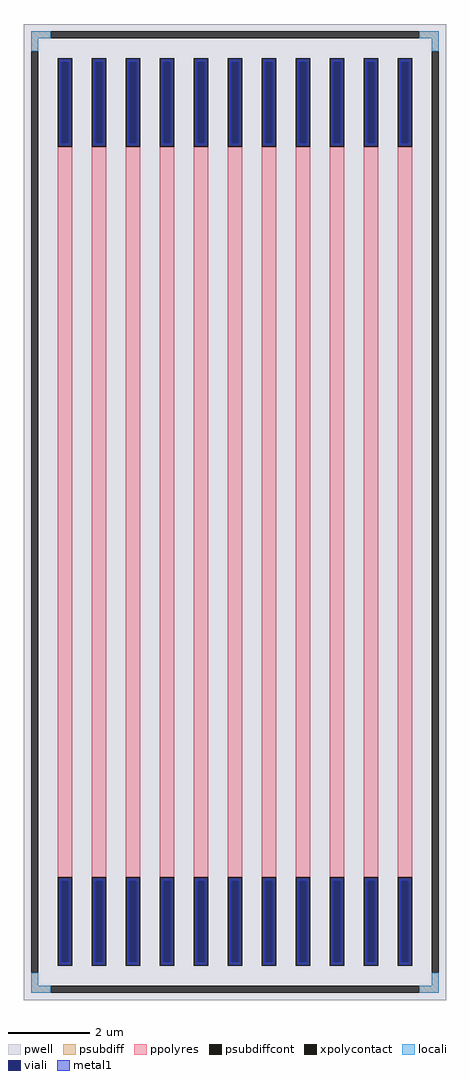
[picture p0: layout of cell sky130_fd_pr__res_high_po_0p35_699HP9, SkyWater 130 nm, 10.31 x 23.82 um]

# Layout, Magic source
magic
tech sky130A
magscale 1 2
<< pwell >>
rect -1031 -2382 1031 2382
<< psubdiff >>
rect -995 2312 -899 2346
rect 899 2312 995 2346
rect -995 2250 -961 2312
rect 961 2250 995 2312
rect -995 -2312 -961 -2250
rect 961 -2312 995 -2250
rect -995 -2346 -899 -2312
rect 899 -2346 995 -2312
<< psubdiffcont >>
rect -899 2312 899 2346
rect -995 -2250 -961 2250
rect 961 -2250 995 2250
rect -899 -2346 899 -2312
<< xpolycontact >>
rect -865 1784 -795 2216
rect -865 -2216 -795 -1784
rect -699 1784 -629 2216
rect -699 -2216 -629 -1784
rect -533 1784 -463 2216
rect -533 -2216 -463 -1784
rect -367 1784 -297 2216
rect -367 -2216 -297 -1784
rect -201 1784 -131 2216
rect -201 -2216 -131 -1784
rect -35 1784 35 2216
rect -35 -2216 35 -1784
rect 131 1784 201 2216
rect 131 -2216 201 -1784
rect 297 1784 367 2216
rect 297 -2216 367 -1784
rect 463 1784 533 2216
rect 463 -2216 533 -1784
rect 629 1784 699 2216
rect 629 -2216 699 -1784
rect 795 1784 865 2216
rect 795 -2216 865 -1784
<< ppolyres >>
rect -865 -1784 -795 1784
rect -699 -1784 -629 1784
rect -533 -1784 -463 1784
rect -367 -1784 -297 1784
rect -201 -1784 -131 1784
rect -35 -1784 35 1784
rect 131 -1784 201 1784
rect 297 -1784 367 1784
rect 463 -1784 533 1784
rect 629 -1784 699 1784
rect 795 -1784 865 1784
<< locali >>
rect -995 2312 -899 2346
rect 899 2312 995 2346
rect -995 2250 -961 2312
rect 961 2250 995 2312
rect -995 -2312 -961 -2250
rect 961 -2312 995 -2250
rect -995 -2346 -899 -2312
rect 899 -2346 995 -2312
<< viali >>
rect -849 1801 -811 2198
rect -683 1801 -645 2198
rect -517 1801 -479 2198
rect -351 1801 -313 2198
rect -185 1801 -147 2198
rect -19 1801 19 2198
rect 147 1801 185 2198
rect 313 1801 351 2198
rect 479 1801 517 2198
rect 645 1801 683 2198
rect 811 1801 849 2198
rect -849 -2198 -811 -1801
rect -683 -2198 -645 -1801
rect -517 -2198 -479 -1801
rect -351 -2198 -313 -1801
rect -185 -2198 -147 -1801
rect -19 -2198 19 -1801
rect 147 -2198 185 -1801
rect 313 -2198 351 -1801
rect 479 -2198 517 -1801
rect 645 -2198 683 -1801
rect 811 -2198 849 -1801
<< metal1 >>
rect -855 2198 -805 2210
rect -855 1801 -849 2198
rect -811 1801 -805 2198
rect -855 1789 -805 1801
rect -689 2198 -639 2210
rect -689 1801 -683 2198
rect -645 1801 -639 2198
rect -689 1789 -639 1801
rect -523 2198 -473 2210
rect -523 1801 -517 2198
rect -479 1801 -473 2198
rect -523 1789 -473 1801
rect -357 2198 -307 2210
rect -357 1801 -351 2198
rect -313 1801 -307 2198
rect -357 1789 -307 1801
rect -191 2198 -141 2210
rect -191 1801 -185 2198
rect -147 1801 -141 2198
rect -191 1789 -141 1801
rect -25 2198 25 2210
rect -25 1801 -19 2198
rect 19 1801 25 2198
rect -25 1789 25 1801
rect 141 2198 191 2210
rect 141 1801 147 2198
rect 185 1801 191 2198
rect 141 1789 191 1801
rect 307 2198 357 2210
rect 307 1801 313 2198
rect 351 1801 357 2198
rect 307 1789 357 1801
rect 473 2198 523 2210
rect 473 1801 479 2198
rect 517 1801 523 2198
rect 473 1789 523 1801
rect 639 2198 689 2210
rect 639 1801 645 2198
rect 683 1801 689 2198
rect 639 1789 689 1801
rect 805 2198 855 2210
rect 805 1801 811 2198
rect 849 1801 855 2198
rect 805 1789 855 1801
rect -855 -1801 -805 -1789
rect -855 -2198 -849 -1801
rect -811 -2198 -805 -1801
rect -855 -2210 -805 -2198
rect -689 -1801 -639 -1789
rect -689 -2198 -683 -1801
rect -645 -2198 -639 -1801
rect -689 -2210 -639 -2198
rect -523 -1801 -473 -1789
rect -523 -2198 -517 -1801
rect -479 -2198 -473 -1801
rect -523 -2210 -473 -2198
rect -357 -1801 -307 -1789
rect -357 -2198 -351 -1801
rect -313 -2198 -307 -1801
rect -357 -2210 -307 -2198
rect -191 -1801 -141 -1789
rect -191 -2198 -185 -1801
rect -147 -2198 -141 -1801
rect -191 -2210 -141 -2198
rect -25 -1801 25 -1789
rect -25 -2198 -19 -1801
rect 19 -2198 25 -1801
rect -25 -2210 25 -2198
rect 141 -1801 191 -1789
rect 141 -2198 147 -1801
rect 185 -2198 191 -1801
rect 141 -2210 191 -2198
rect 307 -1801 357 -1789
rect 307 -2198 313 -1801
rect 351 -2198 357 -1801
rect 307 -2210 357 -2198
rect 473 -1801 523 -1789
rect 473 -2198 479 -1801
rect 517 -2198 523 -1801
rect 473 -2210 523 -2198
rect 639 -1801 689 -1789
rect 639 -2198 645 -1801
rect 683 -2198 689 -1801
rect 639 -2210 689 -2198
rect 805 -1801 855 -1789
rect 805 -2198 811 -1801
rect 849 -2198 855 -1801
rect 805 -2210 855 -2198
<< properties >>
string FIXED_BBOX -978 -2329 978 2329
string gencell sky130_fd_pr__res_high_po_0p35
string library sky130
string parameters w 0.350 l 18.0 m 1 nx 11 wmin 0.350 lmin 0.50 rho 319.8 val 17.56k dummy 0 dw 0.0 term 194.82 sterm 0.0 caplen 0 guard 1 glc 1 grc 1 gtc 1 gbc 1 compatible {sky130_fd_pr__res_high_po_0p35  sky130_fd_pr__res_high_po_0p69 sky130_fd_pr__res_high_po_1p41  sky130_fd_pr__res_high_po_2p85 sky130_fd_pr__res_high_po_5p73} snake 0 full_metal 1 wmax 0.350 vias 1 n_guard 0 hv_guard 0 viagb 0 viagt 0 viagl 0 viagr 0
<< end >>
